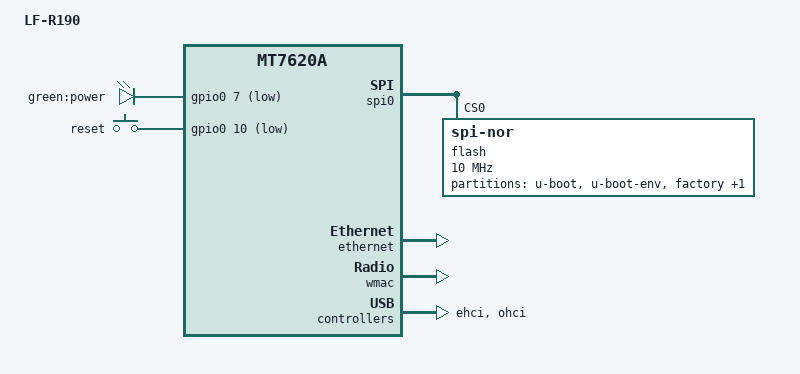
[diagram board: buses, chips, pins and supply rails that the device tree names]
#include "mt7620a.dtsi"

#include <dt-bindings/gpio/gpio.h>
#include <dt-bindings/input/input.h>

/ {
	compatible = "lfk,lf-r190", "ralink,mt7620a-soc";
	model = "LF‑R190";

	chosen {
		bootargs = "console=ttyS0,115200";
	};

	aliases {
		led-boot = &led_power;
		led-failsafe = &led_power;
		led-running = &led_power;
		led-upgrade = &led_power;
		label-mac-device = &ethernet;
	};

	leds {
		compatible = "gpio-leds";
		led_power: power {
			label = "green:power";
			gpios = <&gpio0 7 GPIO_ACTIVE_LOW>;
		};
	};

	keys {
		compatible = "gpio-keys";

		reset {
			label = "reset";
			gpios = <&gpio0 10 GPIO_ACTIVE_LOW>;
			linux,code = <KEY_RESTART>;
		};
	};
};

&spi0 {
	status = "okay";

	flash@0 {
		compatible = "jedec,spi-nor";
		reg = <0>;
		spi-max-frequency = <10000000>;

		partitions {
			compatible = "fixed-partitions";
			#address-cells = <1>;
			#size-cells = <1>;

			partition@0 {
				label = "u-boot";
				reg = <0x0 0x30000>;
				read-only;
			};

			partition@30000 {
				label = "u-boot-env";
				reg = <0x30000 0x10000>;
				read-only;
			};

			factory: partition@40000 {
				label = "factory";
				reg = <0x40000 0x10000>;
				read-only;
			};

			partition@50000 {
				compatible = "denx,uimage";
				label = "firmware";
				reg = <0x50000 0x7b0000>;
			};
		};
	};
};

&ethernet {
	status = "okay";
	mtd-mac-address = <&factory 0x4>;

	mediatek,portmap = "llllw";
};

&wmac {
	ralink,mtd-eeprom = <&factory 0x0>;
};

&ehci {
	status = "okay";
};

&ohci {
	status = "okay";
};
